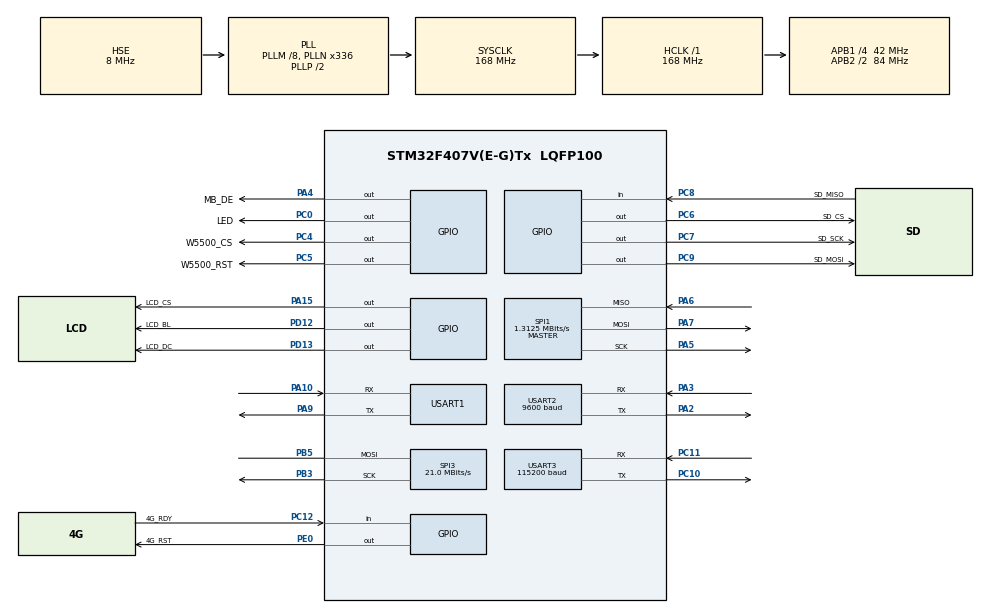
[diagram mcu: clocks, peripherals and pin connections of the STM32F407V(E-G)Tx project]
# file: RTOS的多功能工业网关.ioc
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Mcu.Family=STM32F4
Mcu.Name=STM32F407V(E-G)Tx
Mcu.Package=LQFP100
NVIC.PriorityGroup=NVIC_PRIORITYGROUP_4
NVIC.USART3_IRQn=true\:6\:0\:false\:false\:true\:false\:false\:false
PA10.Mode=Asynchronous
PA10.Signal=USART1_RX
PA13.Mode=Serial_Wire
PA13.Signal=SYS_JTMS-SWDIO
PA14.Mode=Serial_Wire
PA14.Signal=SYS_JTCK-SWCLK
PA15.GPIO_Label=LCD_CS
PA15.GPIOSpeed=GPIO_SPEED_FREQ_VERY_HIGH
PA15.PinState=GPIO_PIN_SET
PA15.Signal=GPIO_Output
PA2.Mode=Asynchronous
PA2.Signal=USART2_TX
PA3.Mode=Asynchronous
PA3.Signal=USART2_RX
PA4.GPIO_Label=MB_DE
PA4.PinState=GPIO_PIN_RESET
PA4.Signal=GPIO_Output
PA5.Mode=Full_Duplex_Master
PA5.Signal=SPI1_SCK
PA6.Mode=Full_Duplex_Master
PA6.Signal=SPI1_MISO
PA7.Mode=Full_Duplex_Master
PA7.Signal=SPI1_MOSI
PA9.Mode=Asynchronous
PA9.Signal=USART1_TX
PB3.Mode=Simplex_Bidirectional_Master
PB3.Signal=SPI3_SCK
PB5.Mode=Simplex_Bidirectional_Master
PB5.Signal=SPI3_MOSI
PC0.GPIO_Label=LED
PC0.PinState=GPIO_PIN_SET
PC0.Signal=GPIO_Output
PC14-OSC32_IN.Mode=LSE-External-Oscillator
PC14-OSC32_IN.Signal=RCC_OSC32_IN
PC15-OSC32_OUT.Mode=LSE-External-Oscillator
PC15-OSC32_OUT.Signal=RCC_OSC32_OUT
PC4.GPIO_Label=W5500_CS
PC4.PinState=GPIO_PIN_SET
PC4.Signal=GPIO_Output
PC5.GPIO_Label=W5500_RST
PC5.PinState=GPIO_PIN_SET
PC5.Signal=GPIO_Output
PC6.GPIO_Label=SD_CS
PC6.GPIOSpeed=GPIO_SPEED_FREQ_HIGH
PC6.PinState=GPIO_PIN_SET
PC6.Signal=GPIO_Output
PC7.GPIO_Label=SD_SCK
PC7.GPIOSpeed=GPIO_SPEED_FREQ_HIGH
PC7.PinState=GPIO_PIN_RESET
PC7.Signal=GPIO_Output
PC8.GPIO_Label=SD_MISO
PC8.GPIO_PuPd=GPIO_PULLUP
PC8.Signal=GPIO_Input
PC9.GPIO_Label=SD_MOSI
PC9.GPIOSpeed=GPIO_SPEED_FREQ_HIGH
PC9.PinState=GPIO_PIN_RESET
PC9.Signal=GPIO_Output
PC10.Mode=Asynchronous
PC10.Signal=USART3_TX
PC11.Mode=Asynchronous
PC11.Signal=USART3_RX
PC12.GPIO_Label=4G_RDY
PC12.GPIO_PuPd=GPIO_PULLDOWN
PC12.Signal=GPIO_Input
PD12.GPIO_Label=LCD_BL
PD12.GPIOSpeed=GPIO_SPEED_FREQ_VERY_HIGH
PD12.PinState=GPIO_PIN_RESET
PD12.Signal=GPIO_Output
PD13.GPIO_Label=LCD_DC
PD13.GPIOSpeed=GPIO_SPEED_FREQ_VERY_HIGH
PD13.PinState=GPIO_PIN_SET
PD13.Signal=GPIO_Output
PE0.GPIO_Label=4G_RST
PE0.GPIOMode=GPIO_MODE_OUTPUT_OD
PE0.PinState=GPIO_PIN_SET
PE0.Signal=GPIO_Output
PH0-OSC_IN.Mode=HSE-External-Oscillator
PH0-OSC_IN.Signal=RCC_OSC_IN
PH1-OSC_OUT.Mode=HSE-External-Oscillator
PH1-OSC_OUT.Signal=RCC_OSC_OUT
ProjectManager.HeapSize=0x200
ProjectManager.StackSize=0x400
ProjectManager.TargetToolchain=MDK-ARM V5.32
RCC.48MHZClocksFreq_Value=48000000
RCC.AHBCLKDivider=RCC_SYSCLK_DIV1
RCC.AHBFreq_Value=168000000
RCC.APB1CLKDivider=RCC_HCLK_DIV4
RCC.APB1Freq_Value=42000000
RCC.APB1TimFreq_Value=84000000
RCC.APB2CLKDivider=RCC_HCLK_DIV2
RCC.APB2Freq_Value=84000000
RCC.APB2TimFreq_Value=168000000
RCC.CortexFreq_Value=168000000
RCC.HCLKFreq_Value=168000000
RCC.HSE_VALUE=8000000
RCC.HSI_VALUE=16000000
RCC.PLLM=8
RCC.PLLN=336
RCC.PLLP=RCC_PLLP_DIV2
RCC.PLLQ=7
RCC.PLLSourceVirtual=RCC_PLLSOURCE_HSE
RCC.RCC_RTC_Clock_Source=RCC_RTCCLKSOURCE_LSE
RCC.RCC_RTC_Clock_SourceVirtual=RCC_RTCCLKSOURCE_LSE
RCC.SYSCLKFreq_VALUE=168000000
RCC.SYSCLKSource=RCC_SYSCLKSOURCE_PLLCLK
RCC.VCOOutputFreq_Value=336000000
SPI1.BaudRatePrescaler=SPI_BAUDRATEPRESCALER_64
SPI1.CLKPhase=SPI_PHASE_1EDGE
SPI1.CLKPolarity=SPI_POLARITY_LOW
SPI1.CalculateBaudRate=1.3125 MBits/s
SPI1.DataSize=SPI_DATASIZE_8BIT
SPI1.Direction=SPI_DIRECTION_2LINES
SPI1.FirstBit=SPI_FIRSTBIT_MSB
SPI1.Mode=SPI_MODE_MASTER
SPI1.NSS=SPI_NSS_SOFT
SPI1.VirtualType=VM_MASTER
SPI3.BaudRatePrescaler=SPI_BAUDRATEPRESCALER_2
SPI3.CLKPhase=SPI_PHASE_1EDGE
SPI3.CLKPolarity=SPI_POLARITY_LOW
SPI3.CalculateBaudRate=21.0 MBits/s
SPI3.DataSize=SPI_DATASIZE_8BIT
SPI3.Direction=SPI_DIRECTION_1LINE
SPI3.FirstBit=SPI_FIRSTBIT_MSB
SPI3.Mode=SPI_MODE_MASTER
SPI3.NSS=SPI_NSS_SOFT
SPI3.VirtualType=VM_MASTER
USART1.VirtualMode=VM_ASYNC
USART2.BaudRate=9600
USART2.VirtualMode=VM_ASYNC
USART3.BaudRate=115200
USART3.VirtualMode=VM_ASYNC
VP_RTC_VS_RTC_Activate.Mode=RTC_Enabled
board=custom

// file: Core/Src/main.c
/* USER CODE BEGIN Header */
/**
  ******************************************************************************
  * @file           : main.c
  * @brief          : Main program body
  ******************************************************************************
  * @attention
  *
  * Copyright (c) 2026 STMicroelectronics.
  * All rights reserved.
  *
  * This software is licensed under terms that can be found in the LICENSE file
  * in the root directory of this software component.
  * If no LICENSE file comes with this software, it is provided AS-IS.
  *
  ******************************************************************************
  */
/* USER CODE END Header */
#include "main.h"
#include "rtc.h"
#include "spi.h"
#include "usart.h"
#include "gpio.h"

/* USER CODE BEGIN Includes */
#include <stdio.h>
#include "stm32f4xx_it.h"   /* Fault_Blink：Error_Handler / 异常时的 LED 故障指示 */
#include "FreeRTOS.h"
#include "task.h"
#include "delay.h"
#include "usart_app.h"      /* USART1 调试串口 + printf 重定向 */
#include "lcd_spi_154.h"
#include "w5500_bsp.h"
#include "modbus.h"
#include "mqtt.h"
#include "rtc_app.h"
#include "AT24C64.h"
#include "ota.h"
#include "app.h"
/* USER CODE END Includes */

/* USER CODE BEGIN PV */
/* 阶段8：FreeRTOS 多任务。任务/共享状态/心跳全部在 app.c，
 * 本文件只负责外设初始化 -> APP_Init() -> 启动调度器。 */
/* USER CODE END PV */

void SystemClock_Config(void);

/* USER CODE BEGIN 0 */
/*
 * HAL 工程 —— 阶段8：FreeRTOS 多任务（与标准库版功能一致）
 * W5500 接线：SCLK=PA5 / MISO=PA6 / MOSI=PA7（SPI1），nSS=PC4，nRST=PC5
 * 网络：静态IP 192.168.0.250（见 w5500_bsp.h 配置区）；Modbus 变送器接 USART2（DE=PA4）
 *
 * SysTick 归属：HAL_Init 先按 1ms 配好（HAL_IncTick 时基），vTaskStartScheduler
 * 时由 port 重新配置为同频率 FreeRTOS tick；it.c 的 SysTick_Handler 链式调用
 * 两者（HAL_IncTick + xPortSysTickHandler），HAL_GetTick/HAL_Delay 全程可用，
 * 无需像 CubeMX 那样把 HAL 时基迁到 TIM6/7。
 */
/* USER CODE END 0 */

int main(void)
{

  /* USER CODE BEGIN 1 */
  /* 阶段10：应用从 0x08000000 搬到 0x08008000（bootloader 之后）：
   * 向量表重定位（bootloader 跳转前也会设，这里兜底） */
  SCB->VTOR = 0x08008000;
  /* 关键：bootloader 跳转前调过 __disable_irq()（PRIMASK=1），必须尽早恢复全局中断，
   * 否则调度器启动前 SysTick 中断被屏蔽 → uwTick 冻结 → HAL_Delay/HAL_GetTick 全部死等
   * （现象：System Start 打印后无声卡死，VECT_TAB_OFFSET 设了也没用） */
  __enable_irq();
  /* USER CODE END 1 */

  /* MCU Configuration--------------------------------------------------------*/

  /* Reset of all peripherals, Initializes the Flash interface and the Systick. */
  HAL_Init();

  /* Configure the system clock */
  SystemClock_Config();

  /* Initialize all configured peripherals */
  MX_GPIO_Init();
  RTC_Init_Wrap();   /* 开备份域写使能（DBP）：必须在 MX_RTC_Init 之前，阶段9 对时/书签依赖 */
  MX_RTC_Init();
  MX_SPI1_Init();
  MX_SPI3_Init();
  MX_USART1_UART_Init();
  MX_USART2_UART_Init();
  MX_USART3_UART_Init();   /* 阶段13：Air780E 4G 备份通道 USART3（PC10/PC11） */
  /* USER CODE BEGIN 2 */
  /* MX_GPIO_Init 按 .ioc 里的默认状态把 PD12 拉低了，这里立刻重新点亮背光 */
  LCD_Backlight_ON;

  /* 时钟/GPIO/SPI/USART/RTC 已由上面的 MX_xxx_Init 配好，这里只做应用层初始化 */
  Delay_Init();
  USART1_Init(115200);
  printf("System Start (FreeRTOS V11.3.0)\r\n");

  SPI_LCD_Init();

  LCD_SetAsciiFont(&ASCII_Font16);  LCD_SetBackColor(LCD_WHITE);
  LCD_SetColor(LCD_BLACK);
  LCD_Clear();
  LCD_ShowNumMode(Fill_Space);  /* 数字不足位补空格 */

  /* 仪表盘静态框架 */
  LCD_DisplayString(16, 16,  "Industrial Gateway");
  LCD_DisplayString(16, 40,  "Link:");
  LCD_DisplayString(16, 64,  "MQTT:");
  LCD_DisplayString(16, 92,  "Temp:");
  LCD_DisplayString(16, 116, "Hum :");
  LCD_DisplayString(112, 92,  "C");
  LCD_DisplayString(112, 116, "%");
  LCD_DisplayString(16, 144, "IP: 192.168.0.250");
  LCD_DisplayString(16, 168, "PUB:");

  MB_USART_Init();
  AT24C64_Init();      /* 阶段10：掉电安全状态介质（软件I2C），datalog 书签/OTA 状态 */
  W5500_BSP_Init();
  W5500_NetworkInit();
  MQTT_Init();
  printf("FW v%s (OTA)\r\n", OTA_VER_STR);
#if MQTT_LOCAL_BROKER
  printf("Gateway ready: IP 192.168.0.250, broker=LOCAL(192.168.0.105:1883), MQTT pub 5s\r\n");
#else
  printf("Gateway ready: IP 192.168.0.250, broker.emqx.io:1883, MQTT pub 5s\r\n");
#endif

  /* 创建互斥锁 + 4 任务（详见 app.c），随后交出控制权给 FreeRTOS */
  APP_Init();
  printf("Starting scheduler...\r\n");
  vTaskStartScheduler();

  /* 正常不会走到这里：走到 = 堆不足等致命错误 */
  printf("FATAL: scheduler start failed\r\n");
  /* USER CODE END 2 */

  /* Infinite loop */
  while (1)
  {

    /* USER CODE BEGIN 3 */
    /* 调度器已启动且不会返回，这里只是兜底 */
  }
  /* USER CODE END 3 */
}

/* ---------- FreeRTOS 钩子 ---------- */

void vApplicationMallocFailedHook(void)
{
  printf("FATAL: malloc failed\r\n");
  taskDISABLE_INTERRUPTS();
  for (;;);
}

void vApplicationStackOverflowHook(TaskHandle_t xTask, char *pcTaskName)
{
  (void)xTask;
  printf("FATAL: stack overflow in %s\r\n", pcTaskName ? pcTaskName : "?");
  taskDISABLE_INTERRUPTS();
  for (;;);
}

void vAssertCalled(const char *pcFile, int pcLine)
{
  printf("ASSERT: %s:%d\r\n", pcFile, pcLine);
  taskDISABLE_INTERRUPTS();
  for (;;);
}

void SystemClock_Config(void)
{
  RCC_OscInitTypeDef RCC_OscInitStruct = {0};
  RCC_ClkInitTypeDef RCC_ClkInitStruct = {0};

  /** Configure the main internal regulator output voltage
  */
  __HAL_RCC_PWR_CLK_ENABLE();
  __HAL_PWR_VOLTAGESCALING_CONFIG(PWR_REGULATOR_VOLTAGE_SCALE1);

  /** Initializes the RCC Oscillators according to the specified parameters
  * in the RCC_OscInitTypeDef structure.
  */
  RCC_OscInitStruct.OscillatorType = RCC_OSCILLATORTYPE_HSE|RCC_OSCILLATORTYPE_LSE;
  RCC_OscInitStruct.HSEState = RCC_HSE_ON;
  RCC_OscInitStruct.LSEState = RCC_LSE_ON;
  RCC_OscInitStruct.PLL.PLLState = RCC_PLL_ON;
  RCC_OscInitStruct.PLL.PLLSource = RCC_PLLSOURCE_HSE;
  RCC_OscInitStruct.PLL.PLLM = 8;
  RCC_OscInitStruct.PLL.PLLN = 336;
  RCC_OscInitStruct.PLL.PLLP = RCC_PLLP_DIV2;
  RCC_OscInitStruct.PLL.PLLQ = 7;
  /* 手工修改（CubeMX 重新生成会覆盖，需重打）：
   * LSE(32.768K) 起振失败时不让整板卡死在 Error_Handler。
   * 失败则降级：关 LSE、开 LSI 做 RTC 时钟（RTC 仍可走时，只是断电不保持）。 */
  if (HAL_RCC_OscConfig(&RCC_OscInitStruct) != HAL_OK)
  {
    RCC_OscInitStruct.OscillatorType = RCC_OSCILLATORTYPE_HSE|RCC_OSCILLATORTYPE_LSI;
    RCC_OscInitStruct.LSEState = RCC_LSE_OFF;
    RCC_OscInitStruct.LSIState = RCC_LSI_ON;
    if (HAL_RCC_OscConfig(&RCC_OscInitStruct) != HAL_OK)
    {
      Error_Handler();
    }
  }

  /** Initializes the CPU, AHB and APB buses clocks
  */
  RCC_ClkInitStruct.ClockType = RCC_CLOCKTYPE_HCLK|RCC_CLOCKTYPE_SYSCLK
                              |RCC_CLOCKTYPE_PCLK1|RCC_CLOCKTYPE_PCLK2;
  RCC_ClkInitStruct.SYSCLKSource = RCC_SYSCLKSOURCE_PLLCLK;
  RCC_ClkInitStruct.AHBCLKDivider = RCC_SYSCLK_DIV1;
  RCC_ClkInitStruct.APB1CLKDivider = RCC_HCLK_DIV4;
  RCC_ClkInitStruct.APB2CLKDivider = RCC_HCLK_DIV2;

  if (HAL_RCC_ClockConfig(&RCC_ClkInitStruct, FLASH_LATENCY_5) != HAL_OK)
  {
    Error_Handler();
  }
}

void Error_Handler(void)
{
  /* USER CODE BEGIN Error_Handler_Debug */
  /* 初始化失败：PC0 LED 快闪报错（寄存器直写，不依赖外设初始化结果），
   * 不静默死循环——避免"程序没跑起来"和"初始化失败"分不清。 */
  Fault_Blink();
  /* USER CODE END Error_Handler_Debug */
}
